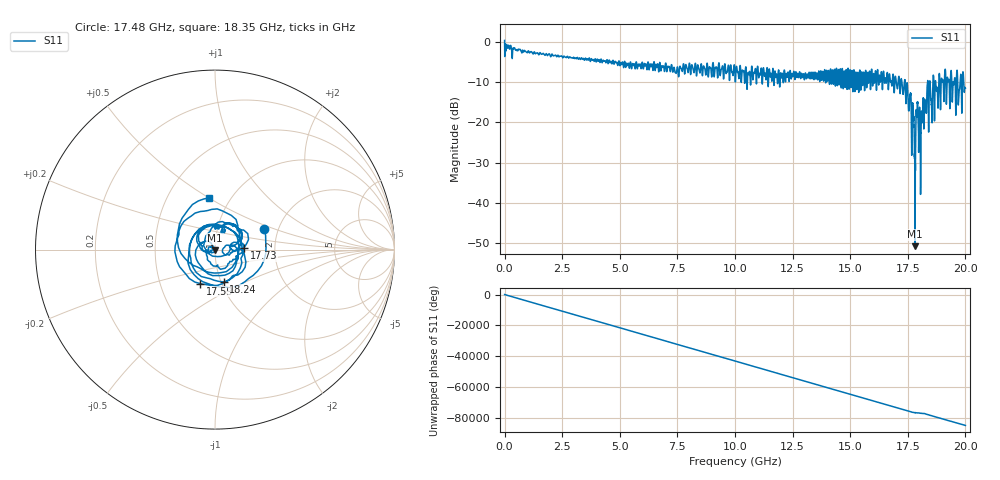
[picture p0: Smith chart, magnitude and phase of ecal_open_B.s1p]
! MS46122B
! 2250307/22442219
! 7/23/2025 7:49:48 AM
! C:\USERS\SPARKY\DOCUMENTS\VNA_DATA\JULY23_2025\3K\ECAL_OPEN_B.S1P
! CHANNEL.1
! TR.MEASUREMENT
! RAW.DATA
# GHZ S RI R 50.0
! FREQ.GHZ  S11RE  S11IM
!; PortSelection: Port_1
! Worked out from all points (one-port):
!   10001 points, 1 MHz to 20 GHz, reference 50 ohm
!   lowest |S11| = -50.8 dB at 17.82 GHz (marker M1), VSWR 1.01, Z = 50 - j0.287 ohm
!   |S11| at or under -10 dB: 17.38 GHz to 18.36 GHz (977 MHz wide, 5.47 % of centre); 18.46 GHz to 18.59 GHz (124.7 MHz wide, 0.673 % of centre); 18.71 GHz to 18.84 GHz (129.7 MHz wide, 0.691 % of centre) (the widest 3 of 63)
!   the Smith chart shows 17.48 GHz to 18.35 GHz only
!   S11 on the Smith chart (normalised r, x): 17.48 GHz: 1.69, +0.43; 17.59 GHz: 0.79, -0.31; 17.73 GHz: 1.38, +0.02; 18.24 GHz: 1.03, -0.38; 18.35 GHz: 0.79, +0.50
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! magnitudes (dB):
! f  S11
! 1 MHz  0.4
! 2.501 GHz  -3.7
! 5.001 GHz  -5.8
! 7.501 GHz  -6.2
! 10 GHz  -8.0
! 10.6 GHz  -8.0
! 10.8 GHz  -7.8
! 12.5 GHz  -8.4
! 15 GHz  -7.1
! 16.78 GHz  -9.8
! 17.29 GHz  -13.0
! 17.48 GHz  -10.5
! 17.5 GHz  -12.2
! 17.55 GHz  -17.1
! 17.59 GHz  -13.7
! 17.68 GHz  -21.9
! 17.73 GHz  -15.8
! 17.82 GHz  -50.8
! 17.89 GHz  -18.4
! 17.94 GHz  -17.3
! 18.05 GHz  -29.5
! 18.24 GHz  -14.6
! 18.35 GHz  -10.7
! 19.05 GHz  -11.3
! 19.25 GHz  -9.9
! 19.31 GHz  -11.6
! 19.51 GHz  -10.4
! 20 GHz  -11.5
